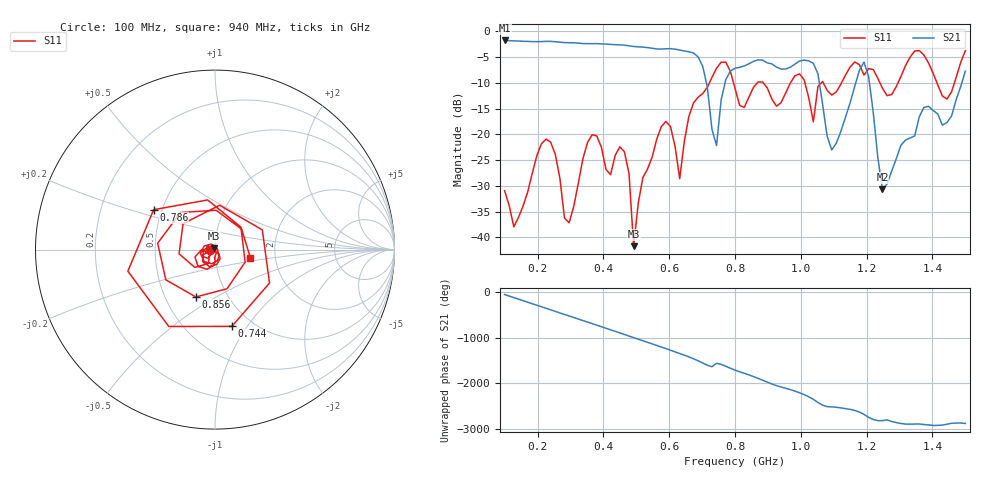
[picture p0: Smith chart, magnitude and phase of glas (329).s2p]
! NanoVNA-App
! Date: 2025-09-25 15:58:02
! Start: 100MHz Stop: 1,5GHz Points: 101
! S-Parameter data: F S11 S21 S12 S22
# Hz S RI R 50
!  Frequency  S11_Real  S11_Imag  S21_Real  S21_Imag  S12_Real  S12_Imag  S22_Real  S22_Imag
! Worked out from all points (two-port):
!   101 points, 100 MHz to 1.5 GHz, reference 50 ohm
!   highest |S21| = -1.80 dB at 100 MHz (marker M1); lowest = -30.7 dB at 1.248 GHz (marker M2)
!   |S21| within 3 dB of the highest: start of sweep to 684.4 MHz
!   lowest |S11| = -41.7 dB at 492 MHz (marker M3), VSWR 1.02, Z = 49.5 + j0.643 ohm
!   |S11| at or under -10 dB: start of sweep to 722.4 MHz; 795.4 MHz to 868 MHz (72.58 MHz wide, 8.73 % of centre); 885.7 MHz to 968.7 MHz (82.99 MHz wide, 8.95 % of centre) (the widest 3 of 7)
!   S12 and S22 are empty: the file has one direction only
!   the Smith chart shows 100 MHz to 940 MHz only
!   S11 on the Smith chart (normalised r, x): 100 MHz: 0.95, -0.01; 744 MHz: 0.80, -0.85; 786 MHz: 0.45, +0.24; 856 MHz: 0.71, -0.41; 940 MHz: 1.48, -0.14
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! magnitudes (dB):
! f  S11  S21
! 100 MHz  -30.9  -1.8
! 128 MHz  -38.0  -1.9
! 226 MHz  -20.9  -2.0
! 296 MHz  -37.2  -2.2
! 338 MHz  -24.7  -2.4
! 464 MHz  -23.4  -2.7
! 492 MHz  -41.7  -3.0
! 576 MHz  -18.5  -3.5
! 632 MHz  -28.6  -3.7
! 702 MHz  -12.1  -6.8
! 744 MHz  -7.2  -22.2
! 786 MHz  -7.8  -7.7
! 800 MHz  -11.1  -7.2
! 856 MHz  -10.9  -5.9
! 940 MHz  -13.9  -7.4
! 996 MHz  -8.3  -5.8
! 1.038 GHz  -17.6  -6.2
! 1.094 GHz  -12.4  -23.0
! 1.192 GHz  -8.5  -6.0
! 1.248 GHz  -11.1  -30.7
! 1.276 GHz  -12.3  -27.2
! 1.5 GHz  -3.8  -7.7
